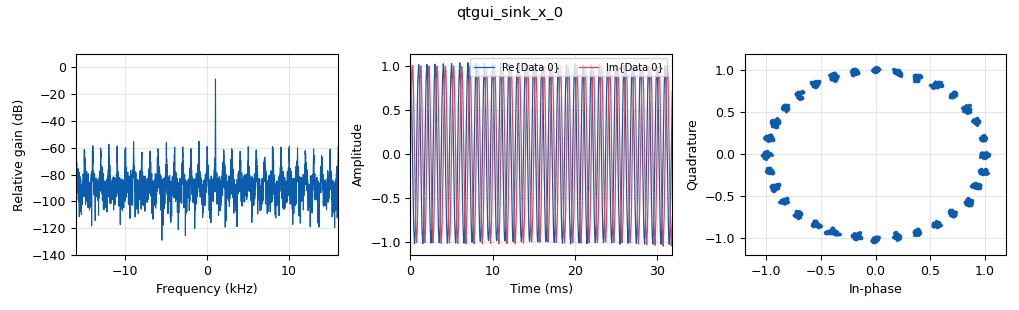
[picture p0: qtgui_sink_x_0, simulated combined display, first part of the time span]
<?xml version='1.0' encoding='utf-8'?>
<?grc format='1' created='3.7.10'?>
<flow_graph>
<block>
<key>options</key>
<param><key>id</key><value>ws</value></param>
<param><key>generate_options</key><value>qt_gui</value></param>
</block>
<block>
<key>variable_qtgui_range</key>
<param><key>id</key><value>freq</value></param>
<param><key>value</key><value>1000</value></param>
<param><key>orient</key><value>Qt.Horizontal</value></param>
<param><key>start</key><value>100</value></param>
<param><key>step</key><value>10</value></param>
<param><key>stop</key><value>2000</value></param>
</block>
<block>
<key>variable</key>
<param><key>id</key><value>length</value></param>
<param><key>value</key><value>32</value></param>
</block>
<block>
<key>variable</key>
<param><key>id</key><value>samp_rate</value></param>
<param><key>value</key><value>32000</value></param>
</block>
<block>
<key>analog_noise_source_x</key>
<param><key>id</key><value>analog_noise_source_x_0</value></param>
<param><key>amp</key><value>0.1</value></param>
<param><key>noise_type</key><value>analog.GR_GAUSSIAN</value></param>
<param><key>type</key><value>complex</value></param>
<param><key>seed</key><value>0</value></param>
</block>
<block>
<key>analog_sig_source_x</key>
<param><key>id</key><value>analog_sig_source_x_0</value></param>
<param><key>amp</key><value>1</value></param>
<param><key>freq</key><value>freq</value></param>
<param><key>offset</key><value>0</value></param>
<param><key>type</key><value>complex</value></param>
<param><key>samp_rate</key><value>samp_rate</value></param>
<param><key>waveform</key><value>analog.GR_COS_WAVE</value></param>
</block>
<block>
<key>blocks_add_xx</key>
<param><key>id</key><value>blocks_add_xx_0</value></param>
<param><key>type</key><value>complex</value></param>
<param><key>num_inputs</key><value>16</value></param>
<param><key>vlen</key><value>length</value></param>
</block>
<block>
<key>blocks_add_xx</key>
<param><key>id</key><value>blocks_add_xx_1</value></param>
<param><key>type</key><value>complex</value></param>
</block>
<block>
<key>blocks_delay</key>
<param><key>id</key><value>blocks_delay_0</value></param>
<param><key>delay</key><value>1</value></param>
<param><key>type</key><value>complex</value></param>
<param><key>vlen</key><value>length</value></param>
</block>
<block>
<key>blocks_delay</key>
<param><key>id</key><value>blocks_delay_0_0</value></param>
<param><key>delay</key><value>1</value></param>
<param><key>type</key><value>complex</value></param>
<param><key>vlen</key><value>length</value></param>
</block>
<block>
<key>blocks_delay</key>
<param><key>id</key><value>blocks_delay_0_0_0</value></param>
<param><key>delay</key><value>1</value></param>
<param><key>type</key><value>complex</value></param>
<param><key>vlen</key><value>length</value></param>
</block>
<block>
<key>blocks_delay</key>
<param><key>id</key><value>blocks_delay_0_0_0_0</value></param>
<param><key>delay</key><value>1</value></param>
<param><key>type</key><value>complex</value></param>
<param><key>vlen</key><value>length</value></param>
</block>
<block>
<key>blocks_delay</key>
<param><key>id</key><value>blocks_delay_0_0_0_1</value></param>
<param><key>delay</key><value>1</value></param>
<param><key>type</key><value>complex</value></param>
<param><key>vlen</key><value>length</value></param>
</block>
<block>
<key>blocks_delay</key>
<param><key>id</key><value>blocks_delay_0_0_1</value></param>
<param><key>delay</key><value>1</value></param>
<param><key>type</key><value>complex</value></param>
<param><key>vlen</key><value>length</value></param>
</block>
<block>
<key>blocks_delay</key>
<param><key>id</key><value>blocks_delay_0_0_1_0</value></param>
<param><key>delay</key><value>1</value></param>
<param><key>type</key><value>complex</value></param>
<param><key>vlen</key><value>length</value></param>
</block>
<block>
<key>blocks_delay</key>
<param><key>id</key><value>blocks_delay_0_0_2</value></param>
<param><key>delay</key><value>1</value></param>
<param><key>type</key><value>complex</value></param>
<param><key>vlen</key><value>length</value></param>
</block>
<block>
<key>blocks_delay</key>
<param><key>id</key><value>blocks_delay_0_1</value></param>
<param><key>delay</key><value>1</value></param>
<param><key>type</key><value>complex</value></param>
<param><key>vlen</key><value>length</value></param>
</block>
<block>
<key>blocks_delay</key>
<param><key>id</key><value>blocks_delay_0_1_0</value></param>
<param><key>delay</key><value>1</value></param>
<param><key>type</key><value>complex</value></param>
<param><key>vlen</key><value>length</value></param>
</block>
<block>
<key>blocks_delay</key>
<param><key>id</key><value>blocks_delay_0_1_0_0</value></param>
<param><key>delay</key><value>1</value></param>
<param><key>type</key><value>complex</value></param>
<param><key>vlen</key><value>length</value></param>
</block>
<block>
<key>blocks_delay</key>
<param><key>id</key><value>blocks_delay_0_1_1</value></param>
<param><key>delay</key><value>1</value></param>
<param><key>type</key><value>complex</value></param>
<param><key>vlen</key><value>length</value></param>
</block>
<block>
<key>blocks_delay</key>
<param><key>id</key><value>blocks_delay_0_2</value></param>
<param><key>delay</key><value>1</value></param>
<param><key>type</key><value>complex</value></param>
<param><key>vlen</key><value>length</value></param>
</block>
<block>
<key>blocks_delay</key>
<param><key>id</key><value>blocks_delay_0_2_0</value></param>
<param><key>delay</key><value>1</value></param>
<param><key>type</key><value>complex</value></param>
<param><key>vlen</key><value>length</value></param>
</block>
<block>
<key>blocks_delay</key>
<param><key>id</key><value>blocks_delay_0_3</value></param>
<param><key>delay</key><value>1</value></param>
<param><key>type</key><value>complex</value></param>
<param><key>vlen</key><value>length</value></param>
</block>
<block>
<key>blocks_multiply_const_vxx</key>
<param><key>id</key><value>blocks_multiply_const_vxx_0</value></param>
<param><key>const</key><value>1.0/16</value></param>
<param><key>type</key><value>complex</value></param>
</block>
<block>
<key>blocks_stream_to_vector</key>
<param><key>id</key><value>blocks_stream_to_vector_0</value></param>
<param><key>type</key><value>complex</value></param>
<param><key>num_items</key><value>length</value></param>
</block>
<block>
<key>blocks_throttle</key>
<param><key>id</key><value>blocks_throttle_0</value></param>
<param><key>samples_per_second</key><value>samp_rate</value></param>
<param><key>type</key><value>complex</value></param>
</block>
<block>
<key>blocks_vector_to_stream</key>
<param><key>id</key><value>blocks_vector_to_stream_0</value></param>
<param><key>type</key><value>complex</value></param>
<param><key>num_items</key><value>length</value></param>
</block>
<block>
<key>qtgui_sink_x</key>
<param><key>id</key><value>qtgui_sink_x_0</value></param>
<param><key>bw</key><value>samp_rate</value></param>
<param><key>fc</key><value>0</value></param>
<param><key>freqchangevar</key><value>None</value></param>
<param><key>fftsize</key><value>4096</value></param>
<param><key>showports</key><value>True</value></param>
<param><key>type</key><value>complex</value></param>
<param><key>wintype</key><value>firdes.WIN_BLACKMAN_hARRIS</value></param>
</block>
<connection><source_block_id>analog_noise_source_x_0</source_block_id><sink_block_id>blocks_add_xx_1</sink_block_id><source_key>0</source_key><sink_key>1</sink_key></connection>
<connection><source_block_id>analog_sig_source_x_0</source_block_id><sink_block_id>blocks_add_xx_1</sink_block_id><source_key>0</source_key><sink_key>0</sink_key></connection>
<connection><source_block_id>blocks_add_xx_0</source_block_id><sink_block_id>blocks_vector_to_stream_0</sink_block_id><source_key>0</source_key><sink_key>0</sink_key></connection>
<connection><source_block_id>blocks_add_xx_1</source_block_id><sink_block_id>blocks_throttle_0</sink_block_id><source_key>0</source_key><sink_key>0</sink_key></connection>
<connection><source_block_id>blocks_delay_0</source_block_id><sink_block_id>blocks_add_xx_0</sink_block_id><source_key>0</source_key><sink_key>1</sink_key></connection>
<connection><source_block_id>blocks_delay_0</source_block_id><sink_block_id>blocks_delay_0_0</sink_block_id><source_key>0</source_key><sink_key>0</sink_key></connection>
<connection><source_block_id>blocks_delay_0_0</source_block_id><sink_block_id>blocks_add_xx_0</sink_block_id><source_key>0</source_key><sink_key>2</sink_key></connection>
<connection><source_block_id>blocks_delay_0_0</source_block_id><sink_block_id>blocks_delay_0_1</sink_block_id><source_key>0</source_key><sink_key>0</sink_key></connection>
<connection><source_block_id>blocks_delay_0_0_0</source_block_id><sink_block_id>blocks_add_xx_0</sink_block_id><source_key>0</source_key><sink_key>4</sink_key></connection>
<connection><source_block_id>blocks_delay_0_0_0</source_block_id><sink_block_id>blocks_delay_0_2</sink_block_id><source_key>0</source_key><sink_key>0</sink_key></connection>
<connection><source_block_id>blocks_delay_0_0_0_0</source_block_id><sink_block_id>blocks_add_xx_0</sink_block_id><source_key>0</source_key><sink_key>8</sink_key></connection>
<connection><source_block_id>blocks_delay_0_0_0_0</source_block_id><sink_block_id>blocks_delay_0_3</sink_block_id><source_key>0</source_key><sink_key>0</sink_key></connection>
<connection><source_block_id>blocks_delay_0_0_0_1</source_block_id><sink_block_id>blocks_add_xx_0</sink_block_id><source_key>0</source_key><sink_key>12</sink_key></connection>
<connection><source_block_id>blocks_delay_0_0_0_1</source_block_id><sink_block_id>blocks_delay_0_2_0</sink_block_id><source_key>0</source_key><sink_key>0</sink_key></connection>
<connection><source_block_id>blocks_delay_0_0_1</source_block_id><sink_block_id>blocks_add_xx_0</sink_block_id><source_key>0</source_key><sink_key>6</sink_key></connection>
<connection><source_block_id>blocks_delay_0_0_1</source_block_id><sink_block_id>blocks_delay_0_1_0</sink_block_id><source_key>0</source_key><sink_key>0</sink_key></connection>
<connection><source_block_id>blocks_delay_0_0_1_0</source_block_id><sink_block_id>blocks_add_xx_0</sink_block_id><source_key>0</source_key><sink_key>14</sink_key></connection>
<connection><source_block_id>blocks_delay_0_0_1_0</source_block_id><sink_block_id>blocks_delay_0_1_0_0</sink_block_id><source_key>0</source_key><sink_key>0</sink_key></connection>
<connection><source_block_id>blocks_delay_0_0_2</source_block_id><sink_block_id>blocks_add_xx_0</sink_block_id><source_key>0</source_key><sink_key>10</sink_key></connection>
<connection><source_block_id>blocks_delay_0_0_2</source_block_id><sink_block_id>blocks_delay_0_1_1</sink_block_id><source_key>0</source_key><sink_key>0</sink_key></connection>
<connection><source_block_id>blocks_delay_0_1</source_block_id><sink_block_id>blocks_add_xx_0</sink_block_id><source_key>0</source_key><sink_key>3</sink_key></connection>
<connection><source_block_id>blocks_delay_0_1</source_block_id><sink_block_id>blocks_delay_0_0_0</sink_block_id><source_key>0</source_key><sink_key>0</sink_key></connection>
<connection><source_block_id>blocks_delay_0_1_0</source_block_id><sink_block_id>blocks_add_xx_0</sink_block_id><source_key>0</source_key><sink_key>7</sink_key></connection>
<connection><source_block_id>blocks_delay_0_1_0</source_block_id><sink_block_id>blocks_delay_0_0_0_0</sink_block_id><source_key>0</source_key><sink_key>0</sink_key></connection>
<connection><source_block_id>blocks_delay_0_1_0_0</source_block_id><sink_block_id>blocks_add_xx_0</sink_block_id><source_key>0</source_key><sink_key>15</sink_key></connection>
<connection><source_block_id>blocks_delay_0_1_1</source_block_id><sink_block_id>blocks_add_xx_0</sink_block_id><source_key>0</source_key><sink_key>11</sink_key></connection>
<connection><source_block_id>blocks_delay_0_1_1</source_block_id><sink_block_id>blocks_delay_0_0_0_1</sink_block_id><source_key>0</source_key><sink_key>0</sink_key></connection>
<connection><source_block_id>blocks_delay_0_2</source_block_id><sink_block_id>blocks_add_xx_0</sink_block_id><source_key>0</source_key><sink_key>5</sink_key></connection>
<connection><source_block_id>blocks_delay_0_2</source_block_id><sink_block_id>blocks_delay_0_0_1</sink_block_id><source_key>0</source_key><sink_key>0</sink_key></connection>
<connection><source_block_id>blocks_delay_0_2_0</source_block_id><sink_block_id>blocks_add_xx_0</sink_block_id><source_key>0</source_key><sink_key>13</sink_key></connection>
<connection><source_block_id>blocks_delay_0_2_0</source_block_id><sink_block_id>blocks_delay_0_0_1_0</sink_block_id><source_key>0</source_key><sink_key>0</sink_key></connection>
<connection><source_block_id>blocks_delay_0_3</source_block_id><sink_block_id>blocks_add_xx_0</sink_block_id><source_key>0</source_key><sink_key>9</sink_key></connection>
<connection><source_block_id>blocks_delay_0_3</source_block_id><sink_block_id>blocks_delay_0_0_2</sink_block_id><source_key>0</source_key><sink_key>0</sink_key></connection>
<connection><source_block_id>blocks_multiply_const_vxx_0</source_block_id><sink_block_id>qtgui_sink_x_0</sink_block_id><source_key>0</source_key><sink_key>0</sink_key></connection>
<connection><source_block_id>blocks_stream_to_vector_0</source_block_id><sink_block_id>blocks_add_xx_0</sink_block_id><source_key>0</source_key><sink_key>0</sink_key></connection>
<connection><source_block_id>blocks_stream_to_vector_0</source_block_id><sink_block_id>blocks_delay_0</sink_block_id><source_key>0</source_key><sink_key>0</sink_key></connection>
<connection><source_block_id>blocks_throttle_0</source_block_id><sink_block_id>blocks_stream_to_vector_0</sink_block_id><source_key>0</source_key><sink_key>0</sink_key></connection>
<connection><source_block_id>blocks_vector_to_stream_0</source_block_id><sink_block_id>blocks_multiply_const_vxx_0</sink_block_id><source_key>0</source_key><sink_key>0</sink_key></connection>
</flow_graph>
